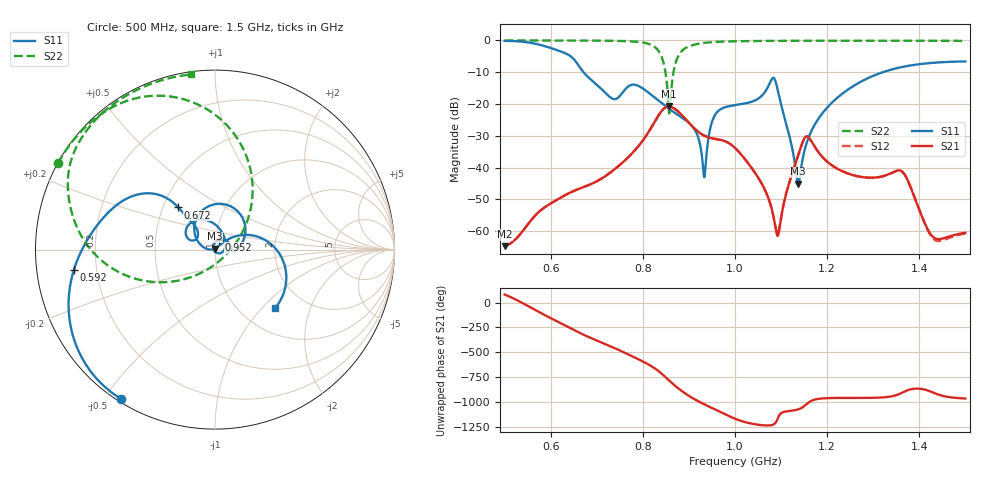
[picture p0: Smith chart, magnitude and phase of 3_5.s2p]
! TOUCHSTONE file generated by CST MICROWAVE STUDIO
! Date and time: Mon Oct 26 12:25:01 2020
! Project name: Scenario_1_Circular_Tissue_out_of_Line.cst
! Parameters = {dy1=-311.318; L_HA=400; MT=2.54; Rad_Dielectric=30; Rad_Lower=7.3; Rad_Upper=30; a_HA=580; a_WG=246; b_HA=500; b_WG=121; c_HA=0; c_WG=187; d_feed=85; dx1=866; h_feed=15; h_lower=18; h_upper=40}
! Header version: 2018
! Port assignment regex: !\s*Touchstone port\s*([0-9]+)\s*=\s*(CST MWS port|CST DS port)\s*([0-9]+|Zmin|Zmax)\s*\(\"(.*)\"\)(\s*mode\s*([0-9]+))?.*
! Touchstone port assignment:
! Touchstone port 1 = CST MWS port 1 ("")
! Touchstone port 2 = CST MWS port 2 ("")
# GHz S DB R 50
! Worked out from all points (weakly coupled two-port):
!   1001 points, 500 MHz to 1.5 GHz, reference 50 ohm
!   highest |S21| = -20.78 dB at 856 MHz (marker M1); lowest = -64.7 dB at 500 MHz (marker M2)
!   lowest |S11| = -45.1 dB at 1.137 GHz (marker M3), VSWR 1.01, Z = 49.7 + j0.49 ohm
!   |S11| at or under -10 dB: 671.2 MHz to 1.321 GHz (649.6 MHz wide, 65.2 % of centre)
!   |S22| runs from -23.7 to 0.0 dB; largest |S21 - S12| = 0.00058
!   S11 on the Smith chart (normalised r, x): 500 MHz: 0.01, -0.55; 592 MHz: 0.12, -0.07; 672 MHz: 0.60, +0.31; 952 MHz: 1.04, +0.11; 1.5 GHz: 1.42, -1.19
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0.5  -0.15 -122.4  -64.71 80.6  -64.71 80.6  -0.01 151.1
0.592  -2.01 -171.9  -52.01 -137.7  -52.01 -137.7  -0.02 144.7
0.667  -9.22 131.5  -46.37 47.0  -46.37 47.0  -0.04 138.4
0.672  -10.13 131.1  -46.10 36.0  -46.10 36.0  -0.04 137.9
0.736  -18.43 144.4  -40.83 -91.8  -40.83 -91.8  -0.12 129.9
0.78  -13.90 134.3  -35.00 174.0  -35.00 173.9  -0.34 120.3
0.834  -18.90 74.5  -23.61 31.9  -23.61 31.9  -3.31 83.3
0.856  -21.39 52.1  -20.78 -58.7  -20.78 -58.7  -21.15 -0.6
0.88  -23.82 23.6  -22.82 -152.5  -22.82 -152.5  -4.15 -173.1
0.915  -28.69 -32.3  -28.10 102.0  -28.10 102.0  -1.21 159.8
0.933  -43.04 -142.0  -29.92 58.9  -29.93 58.8  -0.78 153.5
0.952  -24.84 69.3  -30.85 16.8  -30.85 16.8  -0.52 148.5
1  -20.36 1.7  -33.80 -86.6  -33.80 -86.6  -0.27 140.2
1.062  -16.78 9.6  -46.13 -152.8  -46.15 -152.2  -0.16 133.2
1.092  -15.14 131.0  -61.45 -92.9  -60.92 -91.0  -0.13 130.4
1.137  -45.10 117.8  -36.14 7.1  -36.16 7.3  -0.10 126.6
1.167  -28.13 42.9  -31.94 95.9  -32.03 95.1  -0.10 124.2
1.237  -16.30 30.8  -41.40 122.2  -41.40 122.1  -0.09 118.8
1.334  -9.40 0.7  -42.04 133.6  -42.11 134.4  -0.09 111.4
1.368  -8.20 -10.4  -42.11 -173.1  -42.21 -173.3  -0.09 108.8
1.432  -7.01 -28.9  -62.06 172.2  -62.61 174.3  -0.10 103.7
1.5  -6.60 -44.3  -60.50 116.1  -60.75 114.7  -0.13 97.8
